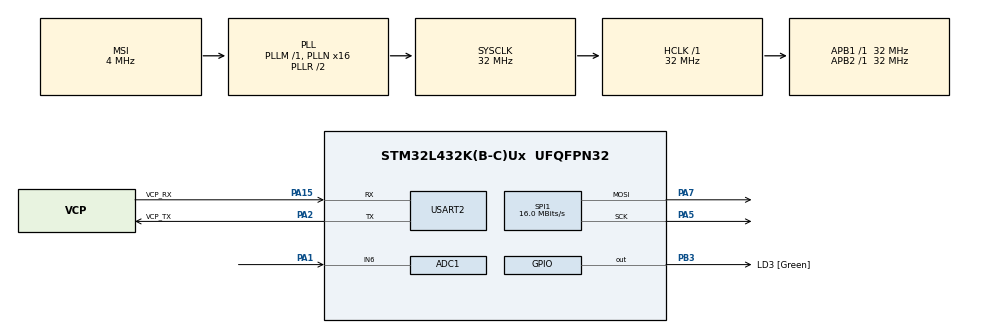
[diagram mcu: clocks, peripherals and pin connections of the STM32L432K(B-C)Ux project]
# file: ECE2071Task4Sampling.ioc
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ADC1.Channel-0\#ChannelRegularConversion=ADC_CHANNEL_6
ADC1.ExternalTrigConv=ADC_EXTERNALTRIG_T1_TRGO
ADC1.NbrOfConversionFlag=1
ADC1.OffsetNumber-0\#ChannelRegularConversion=ADC_OFFSET_NONE
ADC1.Rank-0\#ChannelRegularConversion=1
ADC1.Resolution=ADC_RESOLUTION_12B
ADC1.SamplingTime-0\#ChannelRegularConversion=ADC_SAMPLETIME_2CYCLES_5
ADC1.master=1
Dma.ADC1.0.Direction=DMA_PERIPH_TO_MEMORY
Dma.ADC1.0.Instance=DMA2_Channel3
Dma.ADC1.0.MemDataAlignment=DMA_MDATAALIGN_HALFWORD
Dma.ADC1.0.MemInc=DMA_MINC_ENABLE
Dma.ADC1.0.Mode=DMA_NORMAL
Dma.ADC1.0.PeriphDataAlignment=DMA_PDATAALIGN_HALFWORD
Dma.ADC1.0.PeriphInc=DMA_PINC_DISABLE
Dma.ADC1.0.Priority=DMA_PRIORITY_LOW
Dma.Request0=ADC1
Mcu.Family=STM32L4
Mcu.Name=STM32L432K(B-C)Ux
Mcu.Package=UFQFPN32
NVIC.ADC1_IRQn=true\:0\:0\:false\:false\:true\:true\:true\:true
NVIC.DMA2_Channel3_IRQn=true\:0\:0\:false\:false\:true\:false\:true\:true
NVIC.PriorityGroup=NVIC_PRIORITYGROUP_4
NVIC.TIM1_BRK_TIM15_IRQn=true\:0\:0\:false\:false\:true\:true\:true\:true
NVIC.TIM1_CC_IRQn=true\:0\:0\:false\:false\:true\:true\:true\:true
NVIC.TIM1_TRG_COM_IRQn=true\:0\:0\:false\:false\:true\:true\:true\:true
NVIC.TIM1_UP_TIM16_IRQn=true\:0\:0\:false\:false\:true\:true\:true\:true
PA0.GPIO_Label=MCO [High speed clock in]
PA0.Mode=HSE-External-Clock-Source-for-LittleOrca
PA0.Signal=RCC_CK_IN
PA1.Signal=ADCx_IN6
PA13\ (JTMS-SWDIO).GPIO_Label=SWDIO
PA13\ (JTMS-SWDIO).Mode=Serial_Wire
PA13\ (JTMS-SWDIO).Signal=SYS_JTMS-SWDIO
PA14\ (JTCK-SWCLK).GPIO_Label=SWCLK
PA14\ (JTCK-SWCLK).Mode=Serial_Wire
PA14\ (JTCK-SWCLK).Signal=SYS_JTCK-SWCLK
PA15\ (JTDI).GPIO_Label=VCP_RX
PA15\ (JTDI).Mode=Asynchronous
PA15\ (JTDI).Signal=USART2_RX
PA2.GPIO_Label=VCP_TX
PA2.Mode=Asynchronous
PA2.Signal=USART2_TX
PA5.Mode=TX_Only_Simplex_Unidirect_Master
PA5.Signal=SPI1_SCK
PA7.Mode=TX_Only_Simplex_Unidirect_Master
PA7.Signal=SPI1_MOSI
PB3\ (JTDO-TRACESWO).GPIO_Label=LD3 [Green]
PB3\ (JTDO-TRACESWO).Signal=GPIO_Output
PC14-OSC32_IN\ (PC14).Mode=LSE-External-Oscillator
PC14-OSC32_IN\ (PC14).Signal=RCC_OSC32_IN
PC15-OSC32_OUT\ (PC15).Mode=LSE-External-Oscillator
PC15-OSC32_OUT\ (PC15).Signal=RCC_OSC32_OUT
ProjectManager.HeapSize=0x200
ProjectManager.StackSize=0x400
ProjectManager.TargetToolchain=STM32CubeIDE
RCC.ADCFreq_Value=32000000
RCC.AHBFreq_Value=32000000
RCC.APB1Freq_Value=32000000
RCC.APB1TimFreq_Value=32000000
RCC.APB2Freq_Value=32000000
RCC.APB2TimFreq_Value=32000000
RCC.CortexFreq_Value=32000000
RCC.HCLKFreq_Value=32000000
RCC.HSE_VALUE=8000000
RCC.HSI16_VALUE=16000000
RCC.HSI48_VALUE=48000000
RCC.HSI_VALUE=16000000
RCC.MSI_VALUE=4000000
RCC.PLLMUL=RCC_PLLMUL_4
RCC.PLLN=16
RCC.PLLSAI1N=16
RCC.SYSCLKFreq_VALUE=32000000
RCC.SYSCLKSource=RCC_SYSCLKSOURCE_PLLCLK
RCC.USBFreq_Value=32000000
RCC.VCOOutputFreq_Value=64000000
SH.ADCx_IN6.0=ADC1_IN6,IN6-Single-Ended
SPI1.CalculateBaudRate=16.0 MBits/s
SPI1.DataSize=SPI_DATASIZE_16BIT
SPI1.Direction=SPI_DIRECTION_2LINES
SPI1.Mode=SPI_MODE_MASTER
SPI1.VirtualType=VM_MASTER
TIM1.Period=725
TIM1.Prescaler=0
TIM1.TIM_MasterOutputTrigger=TIM_TRGO_UPDATE
USART2.VirtualMode-Asynchronous=VM_ASYNC
VP_TIM1_VS_ClockSourceINT.Mode=Internal
board=NUCLEO-L432KC

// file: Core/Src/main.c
/* USER CODE BEGIN Header */
/**
  ******************************************************************************
  * @file           : main.c
  * @brief          : Main program body
  ******************************************************************************
  * @attention
  *
  * Copyright (c) 2026 STMicroelectronics.
  * All rights reserved.
  *
  * This software is licensed under terms that can be found in the LICENSE file
  * in the root directory of this soft`ware component.
  * If no LICENSE file comes with this software, it is provided AS-IS.
  *
  ******************************************************************************
  */
/* USER CODE END Header */
#include "main.h"

ADC_HandleTypeDef hadc1;
DMA_HandleTypeDef hdma_adc1;

TIM_HandleTypeDef htim1;

UART_HandleTypeDef huart2;

void SystemClock_Config(void);
static void MX_GPIO_Init(void);
static void MX_DMA_Init(void);
static void MX_USART2_UART_Init(void);
static void MX_ADC1_Init(void);
static void MX_TIM1_Init(void);
static void MX_SPI1_Init(void);

/* USER CODE BEGIN 0 */

static void SPI1_WriteTwoBytes(uint16_t tx_data)
{
	while (!LL_SPI_IsActiveFlag_TXE(SPI1)) {;}
	LL_SPI_TransmitData16(SPI1, tx_data);
	while (LL_SPI_IsActiveFlag_BSY(SPI1)) {;}
	LL_SPI_ClearFlag_OVR(SPI1);
}

// ignore
//static void SPI1_WriteByte(uint8_t tx_byte)
//{
//	while (!LL_SPI_IsActiveFlag_TXE(SPI1)) {;}
//	LL_SPI_TransmitData8(SPI1, tx_byte);
//	while(LL_SPI_IsActiveFlag_BSY(SPI1)){;}
//	LL_SPI_ClearFlag_OVR(SPI1);
//}

static uint16_t ledCtr = 0;
void HAL_ADC_ConvCpltCallback(ADC_HandleTypeDef *hadc)
{
	uint16_t val = HAL_ADC_GetValue(&hadc1);
	SPI1_WriteTwoBytes(val);
	if (++ledCtr >= 4408) { // blink ~10 Hz when ADC is running at 44kHz
		HAL_GPIO_TogglePin(LD3_GPIO_Port, LD3_Pin);
		ledCtr = 0;
	}
}
/* USER CODE END 0 */

int main(void)
{

  /* MCU Configuration--------------------------------------------------------*/

  /* Reset of all peripherals, Initializes the Flash interface and the Systick. */
  HAL_Init();

  /* Configure the system clock */
  SystemClock_Config();

  /* Initialize all configured peripherals */
  MX_GPIO_Init();
  MX_DMA_Init();
  MX_USART2_UART_Init();
  MX_ADC1_Init();
  MX_TIM1_Init();
  MX_SPI1_Init();

  /* Infinite loop */
  /* USER CODE BEGIN WHILE */
  //uint8_t sampledValue;
  //uint8_t buf[1];
  HAL_TIM_Base_Start(&htim1);
  HAL_ADC_Start_IT(&hadc1);
  LL_SPI_Enable(SPI1);
  while (1)
  {
    /* USER CODE END WHILE */

  }
}

void SystemClock_Config(void)
{
  RCC_OscInitTypeDef RCC_OscInitStruct = {0};
  RCC_ClkInitTypeDef RCC_ClkInitStruct = {0};

  /** Configure the main internal regulator output voltage
  */
  if (HAL_PWREx_ControlVoltageScaling(PWR_REGULATOR_VOLTAGE_SCALE1) != HAL_OK)
  {
    Error_Handler();
  }

  /** Configure LSE Drive Capability
  */
  HAL_PWR_EnableBkUpAccess();
  __HAL_RCC_LSEDRIVE_CONFIG(RCC_LSEDRIVE_LOW);

  /** Initializes the RCC Oscillators according to the specified parameters
  * in the RCC_OscInitTypeDef structure.
  */
  RCC_OscInitStruct.OscillatorType = RCC_OSCILLATORTYPE_LSE|RCC_OSCILLATORTYPE_MSI;
  RCC_OscInitStruct.LSEState = RCC_LSE_ON;
  RCC_OscInitStruct.MSIState = RCC_MSI_ON;
  RCC_OscInitStruct.MSICalibrationValue = 0;
  RCC_OscInitStruct.MSIClockRange = RCC_MSIRANGE_6;
  RCC_OscInitStruct.PLL.PLLState = RCC_PLL_ON;
  RCC_OscInitStruct.PLL.PLLSource = RCC_PLLSOURCE_MSI;
  RCC_OscInitStruct.PLL.PLLM = 1;
  RCC_OscInitStruct.PLL.PLLN = 16;
  RCC_OscInitStruct.PLL.PLLP = RCC_PLLP_DIV7;
  RCC_OscInitStruct.PLL.PLLQ = RCC_PLLQ_DIV2;
  RCC_OscInitStruct.PLL.PLLR = RCC_PLLR_DIV2;
  if (HAL_RCC_OscConfig(&RCC_OscInitStruct) != HAL_OK)
  {
    Error_Handler();
  }

  /** Initializes the CPU, AHB and APB buses clocks
  */
  RCC_ClkInitStruct.ClockType = RCC_CLOCKTYPE_HCLK|RCC_CLOCKTYPE_SYSCLK
                              |RCC_CLOCKTYPE_PCLK1|RCC_CLOCKTYPE_PCLK2;
  RCC_ClkInitStruct.SYSCLKSource = RCC_SYSCLKSOURCE_PLLCLK;
  RCC_ClkInitStruct.AHBCLKDivider = RCC_SYSCLK_DIV1;
  RCC_ClkInitStruct.APB1CLKDivider = RCC_HCLK_DIV1;
  RCC_ClkInitStruct.APB2CLKDivider = RCC_HCLK_DIV1;

  if (HAL_RCC_ClockConfig(&RCC_ClkInitStruct, FLASH_LATENCY_1) != HAL_OK)
  {
    Error_Handler();
  }

  /** Enable MSI Auto calibration
  */
  HAL_RCCEx_EnableMSIPLLMode();
}

static void MX_ADC1_Init(void)
{

  ADC_ChannelConfTypeDef sConfig = {0};

  /** Common config
  */
  hadc1.Instance = ADC1;
  hadc1.Init.ClockPrescaler = ADC_CLOCK_ASYNC_DIV1;
  hadc1.Init.Resolution = ADC_RESOLUTION_12B;
  hadc1.Init.DataAlign = ADC_DATAALIGN_RIGHT;
  hadc1.Init.ScanConvMode = ADC_SCAN_DISABLE;
  hadc1.Init.EOCSelection = ADC_EOC_SINGLE_CONV;
  hadc1.Init.LowPowerAutoWait = DISABLE;
  hadc1.Init.ContinuousConvMode = DISABLE;
  hadc1.Init.NbrOfConversion = 1;
  hadc1.Init.DiscontinuousConvMode = DISABLE;
  hadc1.Init.ExternalTrigConv = ADC_EXTERNALTRIG_T1_TRGO;
  hadc1.Init.ExternalTrigConvEdge = ADC_EXTERNALTRIGCONVEDGE_RISING;
  hadc1.Init.DMAContinuousRequests = DISABLE;
  hadc1.Init.Overrun = ADC_OVR_DATA_PRESERVED;
  hadc1.Init.OversamplingMode = DISABLE;
  if (HAL_ADC_Init(&hadc1) != HAL_OK)
  {
    Error_Handler();
  }

  /** Configure Regular Channel
  */
  sConfig.Channel = ADC_CHANNEL_6;
  sConfig.Rank = ADC_REGULAR_RANK_1;
  sConfig.SamplingTime = ADC_SAMPLETIME_2CYCLES_5;
  sConfig.SingleDiff = ADC_SINGLE_ENDED;
  sConfig.OffsetNumber = ADC_OFFSET_NONE;
  sConfig.Offset = 0;
  if (HAL_ADC_ConfigChannel(&hadc1, &sConfig) != HAL_OK)
  {
    Error_Handler();
  }

}

static void MX_SPI1_Init(void)
{

  LL_SPI_InitTypeDef SPI_InitStruct = {0};

  LL_GPIO_InitTypeDef GPIO_InitStruct = {0};

  /* Peripheral clock enable */
  LL_APB2_GRP1_EnableClock(LL_APB2_GRP1_PERIPH_SPI1);

  LL_AHB2_GRP1_EnableClock(LL_AHB2_GRP1_PERIPH_GPIOA);
  /**SPI1 GPIO Configuration
  PA5   ------> SPI1_SCK
  PA7   ------> SPI1_MOSI
  */
  GPIO_InitStruct.Pin = LL_GPIO_PIN_5|LL_GPIO_PIN_7;
  GPIO_InitStruct.Mode = LL_GPIO_MODE_ALTERNATE;
  GPIO_InitStruct.Speed = LL_GPIO_SPEED_FREQ_VERY_HIGH;
  GPIO_InitStruct.OutputType = LL_GPIO_OUTPUT_PUSHPULL;
  GPIO_InitStruct.Pull = LL_GPIO_PULL_NO;
  GPIO_InitStruct.Alternate = LL_GPIO_AF_5;
  LL_GPIO_Init(GPIOA, &GPIO_InitStruct);

  /* SPI1 parameter configuration*/
  SPI_InitStruct.TransferDirection = LL_SPI_FULL_DUPLEX;
  SPI_InitStruct.Mode = LL_SPI_MODE_MASTER;
  SPI_InitStruct.DataWidth = LL_SPI_DATAWIDTH_16BIT;
  SPI_InitStruct.ClockPolarity = LL_SPI_POLARITY_LOW;
  SPI_InitStruct.ClockPhase = LL_SPI_PHASE_1EDGE;
  SPI_InitStruct.NSS = LL_SPI_NSS_SOFT;
  SPI_InitStruct.BaudRate = LL_SPI_BAUDRATEPRESCALER_DIV2;
  SPI_InitStruct.BitOrder = LL_SPI_MSB_FIRST;
  SPI_InitStruct.CRCCalculation = LL_SPI_CRCCALCULATION_DISABLE;
  SPI_InitStruct.CRCPoly = 7;
  LL_SPI_Init(SPI1, &SPI_InitStruct);
  LL_SPI_SetStandard(SPI1, LL_SPI_PROTOCOL_MOTOROLA);
  LL_SPI_EnableNSSPulseMgt(SPI1);

}

static void MX_TIM1_Init(void)
{

  TIM_ClockConfigTypeDef sClockSourceConfig = {0};
  TIM_MasterConfigTypeDef sMasterConfig = {0};

  htim1.Instance = TIM1;
  htim1.Init.Prescaler = 0;
  htim1.Init.CounterMode = TIM_COUNTERMODE_UP;
  htim1.Init.Period = 725; // 32MHz / (0+1) / (725+1) = 44,077 Hz (~44.1kHz)
  htim1.Init.ClockDivision = TIM_CLOCKDIVISION_DIV1;
  htim1.Init.RepetitionCounter = 0;
  htim1.Init.AutoReloadPreload = TIM_AUTORELOAD_PRELOAD_DISABLE;
  if (HAL_TIM_Base_Init(&htim1) != HAL_OK)
  {
    Error_Handler();
  }
  sClockSourceConfig.ClockSource = TIM_CLOCKSOURCE_INTERNAL;
  if (HAL_TIM_ConfigClockSource(&htim1, &sClockSourceConfig) != HAL_OK)
  {
    Error_Handler();
  }
  sMasterConfig.MasterOutputTrigger = TIM_TRGO_UPDATE;
  sMasterConfig.MasterOutputTrigger2 = TIM_TRGO2_RESET;
  sMasterConfig.MasterSlaveMode = TIM_MASTERSLAVEMODE_DISABLE;
  if (HAL_TIMEx_MasterConfigSynchronization(&htim1, &sMasterConfig) != HAL_OK)
  {
    Error_Handler();
  }

}

static void MX_USART2_UART_Init(void)
{

  huart2.Instance = USART2;
  huart2.Init.BaudRate = 115200;
  huart2.Init.WordLength = UART_WORDLENGTH_8B;
  huart2.Init.StopBits = UART_STOPBITS_1;
  huart2.Init.Parity = UART_PARITY_NONE;
  huart2.Init.Mode = UART_MODE_TX_RX;
  huart2.Init.HwFlowCtl = UART_HWCONTROL_NONE;
  huart2.Init.OverSampling = UART_OVERSAMPLING_16;
  huart2.Init.OneBitSampling = UART_ONE_BIT_SAMPLE_DISABLE;
  huart2.AdvancedInit.AdvFeatureInit = UART_ADVFEATURE_NO_INIT;
  if (HAL_UART_Init(&huart2) != HAL_OK)
  {
    Error_Handler();
  }

}

static void MX_DMA_Init(void)
{

  /* DMA controller clock enable */
  __HAL_RCC_DMA2_CLK_ENABLE();

  /* DMA interrupt init */
  /* DMA2_Channel3_IRQn interrupt configuration */
  HAL_NVIC_SetPriority(DMA2_Channel3_IRQn, 0, 0);
  HAL_NVIC_EnableIRQ(DMA2_Channel3_IRQn);

}

static void MX_GPIO_Init(void)
{
  GPIO_InitTypeDef GPIO_InitStruct = {0};

  /* GPIO Ports Clock Enable */
  __HAL_RCC_GPIOC_CLK_ENABLE();
  __HAL_RCC_GPIOA_CLK_ENABLE();
  __HAL_RCC_GPIOB_CLK_ENABLE();

  /*Configure GPIO pin Output Level */
  HAL_GPIO_WritePin(LD3_GPIO_Port, LD3_Pin, GPIO_PIN_RESET);

  /*Configure GPIO pin : LD3_Pin */
  GPIO_InitStruct.Pin = LD3_Pin;
  GPIO_InitStruct.Mode = GPIO_MODE_OUTPUT_PP;
  GPIO_InitStruct.Pull = GPIO_NOPULL;
  GPIO_InitStruct.Speed = GPIO_SPEED_FREQ_LOW;
  HAL_GPIO_Init(LD3_GPIO_Port, &GPIO_InitStruct);

}

void Error_Handler(void)
{
  __disable_irq();
  while (1)
  {
  }
}
